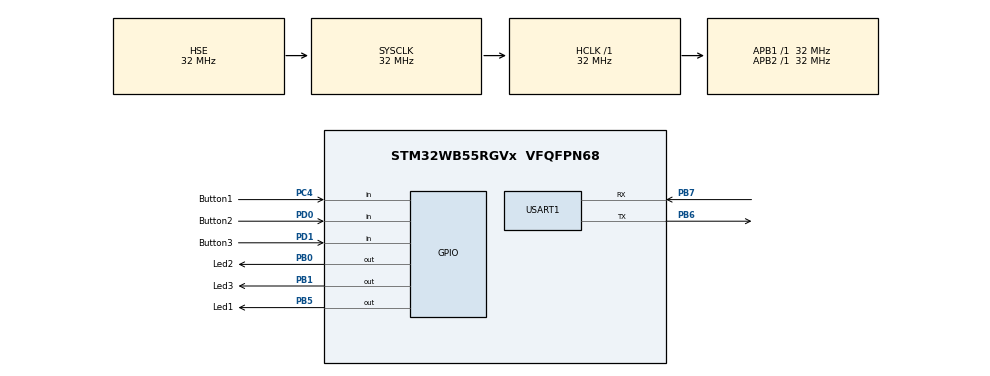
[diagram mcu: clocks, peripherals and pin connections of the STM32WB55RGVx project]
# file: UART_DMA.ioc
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Dma.Request0=USART1_RX
Dma.Request1=USART1_TX
Dma.USART1_RX.0.Direction=DMA_PERIPH_TO_MEMORY
Dma.USART1_RX.0.EventEnable=DISABLE
Dma.USART1_RX.0.Instance=DMA1_Channel1
Dma.USART1_RX.0.MemDataAlignment=DMA_MDATAALIGN_BYTE
Dma.USART1_RX.0.MemInc=DMA_MINC_ENABLE
Dma.USART1_RX.0.Mode=DMA_NORMAL
Dma.USART1_RX.0.PeriphDataAlignment=DMA_PDATAALIGN_BYTE
Dma.USART1_RX.0.PeriphInc=DMA_PINC_DISABLE
Dma.USART1_RX.0.Polarity=HAL_DMAMUX_REQ_GEN_RISING
Dma.USART1_RX.0.Priority=DMA_PRIORITY_LOW
Dma.USART1_RX.0.RequestNumber=1
Dma.USART1_RX.0.SignalID=NONE
Dma.USART1_RX.0.SyncEnable=DISABLE
Dma.USART1_RX.0.SyncPolarity=HAL_DMAMUX_SYNC_NO_EVENT
Dma.USART1_RX.0.SyncRequestNumber=1
Dma.USART1_RX.0.SyncSignalID=NONE
Dma.USART1_TX.1.Direction=DMA_MEMORY_TO_PERIPH
Dma.USART1_TX.1.EventEnable=DISABLE
Dma.USART1_TX.1.Instance=DMA1_Channel2
Dma.USART1_TX.1.MemDataAlignment=DMA_MDATAALIGN_BYTE
Dma.USART1_TX.1.MemInc=DMA_MINC_ENABLE
Dma.USART1_TX.1.Mode=DMA_NORMAL
Dma.USART1_TX.1.PeriphDataAlignment=DMA_PDATAALIGN_BYTE
Dma.USART1_TX.1.PeriphInc=DMA_PINC_DISABLE
Dma.USART1_TX.1.Polarity=HAL_DMAMUX_REQ_GEN_RISING
Dma.USART1_TX.1.Priority=DMA_PRIORITY_LOW
Dma.USART1_TX.1.RequestNumber=1
Dma.USART1_TX.1.SignalID=NONE
Dma.USART1_TX.1.SyncEnable=DISABLE
Dma.USART1_TX.1.SyncPolarity=HAL_DMAMUX_SYNC_NO_EVENT
Dma.USART1_TX.1.SyncRequestNumber=1
Dma.USART1_TX.1.SyncSignalID=NONE
Mcu.Family=STM32WB
Mcu.Name=STM32WB55RGVx
Mcu.Package=VFQFPN68
NVIC.DMA1_Channel1_IRQn=true\:0\:0\:false\:false\:true\:false\:true
NVIC.DMA1_Channel2_IRQn=true\:0\:0\:false\:false\:true\:false\:true
NVIC.HSEM_IRQn=true\:0\:0\:false\:false\:true\:false\:true
NVIC.PriorityGroup=NVIC_PRIORITYGROUP_4
NVIC.USART1_IRQn=true\:0\:0\:false\:false\:true\:true\:true
OSC_IN.Mode=HSE-External-Oscillator
OSC_IN.Signal=RCC_OSC_IN
OSC_OUT.Mode=HSE-External-Oscillator
OSC_OUT.Signal=RCC_OSC_OUT
PB0.GPIO_Label=Led2
PB0.Signal=GPIO_Output
PB1.GPIO_Label=Led3
PB1.Signal=GPIO_Output
PB5.GPIO_Label=Led1
PB5.Signal=GPIO_Output
PB6.Mode=Asynchronous
PB6.Signal=USART1_TX
PB7.Mode=Asynchronous
PB7.Signal=USART1_RX
PC14-OSC32_IN.Mode=LSE-External-Oscillator
PC14-OSC32_IN.Signal=RCC_OSC32_IN
PC15-OSC32_OUT.Mode=LSE-External-Oscillator
PC15-OSC32_OUT.Signal=RCC_OSC32_OUT
PC4.GPIO_Label=Button1
PC4.GPIO_PuPd=GPIO_PULLUP
PC4.Signal=GPIO_Input
PD0.GPIO_Label=Button2
PD0.GPIO_PuPd=GPIO_PULLUP
PD0.Signal=GPIO_Input
PD1.GPIO_Label=Button3
PD1.GPIO_PuPd=GPIO_PULLUP
PD1.Signal=GPIO_Input
ProjectManager.HeapSize=0x200
ProjectManager.StackSize=0x400
ProjectManager.TargetToolchain=STM32CubeIDE
RCC.AHBFreq_Value=32000000
RCC.APB1Freq_Value=32000000
RCC.APB1TimFreq_Value=32000000
RCC.APB2Freq_Value=32000000
RCC.APB2TimFreq_Value=32000000
RCC.APB3Freq_Value=16000000
RCC.CortexFreq_Value=32000000
RCC.HCLKFreq_Value=32000000
RCC.HSE_VALUE=32000000
RCC.HSI48_VALUE=48000000
RCC.HSI_VALUE=16000000
RCC.SMPSCLockSelectionVirtual=RCC_SMPSCLKSOURCE_HSE
RCC.SYSCLKFreq_VALUE=32000000
RCC.SYSCLKSource=RCC_SYSCLKSOURCE_HSE
RCC.VCOOutputFreq_Value=32000000
USART1.VirtualMode-Asynchronous=VM_ASYNC
VP_HSEM_VS_HSEM.Mode=HSEM_Activate
board=custom

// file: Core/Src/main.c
/* USER CODE BEGIN Header */
/**
  ******************************************************************************
  * @file           : main.c
  * @brief          : Main program body
  ******************************************************************************
  * @attention
  *
  * <h2><center>&copy; Copyright (c) 2022 STMicroelectronics.
  * All rights reserved.</center></h2>
  *
  * This software component is licensed by ST under BSD 3-Clause license,
  * the "License"; You may not use this file except in compliance with the
  * License. You may obtain a copy of the License at:
  *                        opensource.org/licenses/BSD-3-Clause
  *
  ******************************************************************************
  */
/* USER CODE END Header */
#include "main.h"

/* USER CODE BEGIN Includes */
#include <stdio.h>
/* USER CODE END Includes */

UART_HandleTypeDef huart1;
DMA_HandleTypeDef hdma_usart1_rx;
DMA_HandleTypeDef hdma_usart1_tx;

void SystemClock_Config(void);
static void MX_GPIO_Init(void);
static void MX_DMA_Init(void);
static void MX_USART1_UART_Init(void);
/* USER CODE BEGIN PFP */
#ifdef __GNUC__
/* With GCC, small printf (option LD Linker->Libraries->Small printf
   set to 'Yes') calls __io_putchar() */
#define PUTCHAR_PROTOTYPE int __io_putchar(int ch)
#else
#define PUTCHAR_PROTOTYPE int fputc(int ch, FILE *f)
#endif /* __GNUC__ */
/* USER CODE END PFP */

int main(void)
{

  /* MCU Configuration--------------------------------------------------------*/

  /* Reset of all peripherals, Initializes the Flash interface and the Systick. */
  HAL_Init();

  /* Configure the system clock */
  SystemClock_Config();

  /* Initialize all configured peripherals */
  MX_GPIO_Init();
  MX_DMA_Init();
  MX_USART1_UART_Init();

  /* Infinite loop */
  while (1)
  {

    /* USER CODE BEGIN 3 */
	  //	  HAL_GPIO_TogglePin(Led1_GPIO_Port, Led1_Pin);
	  //	  while (HAL_GPIO_ReadPin(Button1_GPIO_Port, Button1_Pin) != GPIO_PIN_RESET) {}

	  printf("Using printf \n");

	  uint8_t data_tx[]= {'U','s','i','n','g',' ','T','X',' ','1','2','3','\n'};
	  HAL_UART_Transmit_DMA(&huart1,data_tx,sizeof data_tx);

	  uint8_t data_rx[10];
	  HAL_UART_AbortReceive(&huart1);// Reset buffer
	  HAL_UART_Receive_DMA(&huart1,data_rx,sizeof data_rx );
	  HAL_Delay(100);

	  HAL_Delay(1000);
  }
  /* USER CODE END 3 */
}

void SystemClock_Config(void)
{
  RCC_OscInitTypeDef RCC_OscInitStruct = {0};
  RCC_ClkInitTypeDef RCC_ClkInitStruct = {0};
  RCC_PeriphCLKInitTypeDef PeriphClkInitStruct = {0};

  /** Configure the main internal regulator output voltage
  */
  __HAL_PWR_VOLTAGESCALING_CONFIG(PWR_REGULATOR_VOLTAGE_SCALE1);
  /** Initializes the RCC Oscillators according to the specified parameters
  * in the RCC_OscInitTypeDef structure.
  */
  RCC_OscInitStruct.OscillatorType = RCC_OSCILLATORTYPE_HSI|RCC_OSCILLATORTYPE_HSE;
  RCC_OscInitStruct.HSEState = RCC_HSE_ON;
  RCC_OscInitStruct.HSIState = RCC_HSI_ON;
  RCC_OscInitStruct.HSICalibrationValue = RCC_HSICALIBRATION_DEFAULT;
  RCC_OscInitStruct.PLL.PLLState = RCC_PLL_NONE;
  if (HAL_RCC_OscConfig(&RCC_OscInitStruct) != HAL_OK)
  {
    Error_Handler();
  }
  /** Configure the SYSCLKSource, HCLK, PCLK1 and PCLK2 clocks dividers
  */
  RCC_ClkInitStruct.ClockType = RCC_CLOCKTYPE_HCLK4|RCC_CLOCKTYPE_HCLK2
                              |RCC_CLOCKTYPE_HCLK|RCC_CLOCKTYPE_SYSCLK
                              |RCC_CLOCKTYPE_PCLK1|RCC_CLOCKTYPE_PCLK2;
  RCC_ClkInitStruct.SYSCLKSource = RCC_SYSCLKSOURCE_HSE;
  RCC_ClkInitStruct.AHBCLKDivider = RCC_SYSCLK_DIV1;
  RCC_ClkInitStruct.APB1CLKDivider = RCC_HCLK_DIV1;
  RCC_ClkInitStruct.APB2CLKDivider = RCC_HCLK_DIV1;
  RCC_ClkInitStruct.AHBCLK2Divider = RCC_SYSCLK_DIV1;
  RCC_ClkInitStruct.AHBCLK4Divider = RCC_SYSCLK_DIV1;

  if (HAL_RCC_ClockConfig(&RCC_ClkInitStruct, FLASH_LATENCY_1) != HAL_OK)
  {
    Error_Handler();
  }
  /** Initializes the peripherals clocks
  */
  PeriphClkInitStruct.PeriphClockSelection = RCC_PERIPHCLK_SMPS|RCC_PERIPHCLK_USART1;
  PeriphClkInitStruct.Usart1ClockSelection = RCC_USART1CLKSOURCE_PCLK2;
  PeriphClkInitStruct.SmpsClockSelection = RCC_SMPSCLKSOURCE_HSE;
  PeriphClkInitStruct.SmpsDivSelection = RCC_SMPSCLKDIV_RANGE0;
  if (HAL_RCCEx_PeriphCLKConfig(&PeriphClkInitStruct) != HAL_OK)
  {
    Error_Handler();
  }
}

static void MX_USART1_UART_Init(void)
{

  huart1.Instance = USART1;
  huart1.Init.BaudRate = 115200;
  huart1.Init.WordLength = UART_WORDLENGTH_8B;
  huart1.Init.StopBits = UART_STOPBITS_1;
  huart1.Init.Parity = UART_PARITY_NONE;
  huart1.Init.Mode = UART_MODE_TX_RX;
  huart1.Init.HwFlowCtl = UART_HWCONTROL_NONE;
  huart1.Init.OverSampling = UART_OVERSAMPLING_16;
  huart1.Init.OneBitSampling = UART_ONE_BIT_SAMPLE_DISABLE;
  huart1.Init.ClockPrescaler = UART_PRESCALER_DIV1;
  huart1.AdvancedInit.AdvFeatureInit = UART_ADVFEATURE_NO_INIT;
  if (HAL_UART_Init(&huart1) != HAL_OK)
  {
    Error_Handler();
  }
  if (HAL_UARTEx_SetTxFifoThreshold(&huart1, UART_TXFIFO_THRESHOLD_1_8) != HAL_OK)
  {
    Error_Handler();
  }
  if (HAL_UARTEx_SetRxFifoThreshold(&huart1, UART_RXFIFO_THRESHOLD_1_8) != HAL_OK)
  {
    Error_Handler();
  }
  if (HAL_UARTEx_DisableFifoMode(&huart1) != HAL_OK)
  {
    Error_Handler();
  }

}

static void MX_DMA_Init(void)
{

  /* DMA controller clock enable */
  __HAL_RCC_DMAMUX1_CLK_ENABLE();
  __HAL_RCC_DMA1_CLK_ENABLE();

  /* DMA interrupt init */
  /* DMA1_Channel1_IRQn interrupt configuration */
  HAL_NVIC_SetPriority(DMA1_Channel1_IRQn, 0, 0);
  HAL_NVIC_EnableIRQ(DMA1_Channel1_IRQn);
  /* DMA1_Channel2_IRQn interrupt configuration */
  HAL_NVIC_SetPriority(DMA1_Channel2_IRQn, 0, 0);
  HAL_NVIC_EnableIRQ(DMA1_Channel2_IRQn);

}

static void MX_GPIO_Init(void)
{
  GPIO_InitTypeDef GPIO_InitStruct = {0};

  /* GPIO Ports Clock Enable */
  __HAL_RCC_GPIOC_CLK_ENABLE();
  __HAL_RCC_GPIOB_CLK_ENABLE();
  __HAL_RCC_GPIOD_CLK_ENABLE();

  /*Configure GPIO pin Output Level */
  HAL_GPIO_WritePin(GPIOB, Led2_Pin|Led3_Pin|Led1_Pin, GPIO_PIN_RESET);

  /*Configure GPIO pin : Button1_Pin */
  GPIO_InitStruct.Pin = Button1_Pin;
  GPIO_InitStruct.Mode = GPIO_MODE_INPUT;
  GPIO_InitStruct.Pull = GPIO_PULLUP;
  HAL_GPIO_Init(Button1_GPIO_Port, &GPIO_InitStruct);

  /*Configure GPIO pins : Led2_Pin Led3_Pin Led1_Pin */
  GPIO_InitStruct.Pin = Led2_Pin|Led3_Pin|Led1_Pin;
  GPIO_InitStruct.Mode = GPIO_MODE_OUTPUT_PP;
  GPIO_InitStruct.Pull = GPIO_NOPULL;
  GPIO_InitStruct.Speed = GPIO_SPEED_FREQ_LOW;
  HAL_GPIO_Init(GPIOB, &GPIO_InitStruct);

  /*Configure GPIO pins : Button2_Pin Button3_Pin */
  GPIO_InitStruct.Pin = Button2_Pin|Button3_Pin;
  GPIO_InitStruct.Mode = GPIO_MODE_INPUT;
  GPIO_InitStruct.Pull = GPIO_PULLUP;
  HAL_GPIO_Init(GPIOD, &GPIO_InitStruct);

}

/* USER CODE BEGIN 4 */
PUTCHAR_PROTOTYPE
{
  /* Place your implementation of fputc here */
  /* e.g. write a character to the USART1 and Loop until the end of transmission */
  HAL_UART_Transmit(&huart1, (uint8_t *)&ch, 1, 0xFFFF);

  return ch;
}

void HAL_UART_RxCpltCallback(UART_HandleTypeDef*huart)
{
	  uint8_t data_tx[]= {'R','X',' ','C','O','M','P','L','E','T','E','D','\n'};
	  HAL_UART_Transmit(&huart1,data_tx,sizeof data_tx,100);
}

void HAL_UART_TxCpltCallback(UART_HandleTypeDef*huart)
{
	  uint8_t data_tx[]= {'T','X',' ','C','O','M','P','L','E','T','E','D','\n'};
	  HAL_UART_Transmit(&huart1,data_tx,sizeof data_tx,100);
}
/* USER CODE END 4 */

void Error_Handler(void)
{
}

/************************ (C) COPYRIGHT STMicroelectronics *****END OF FILE****/
